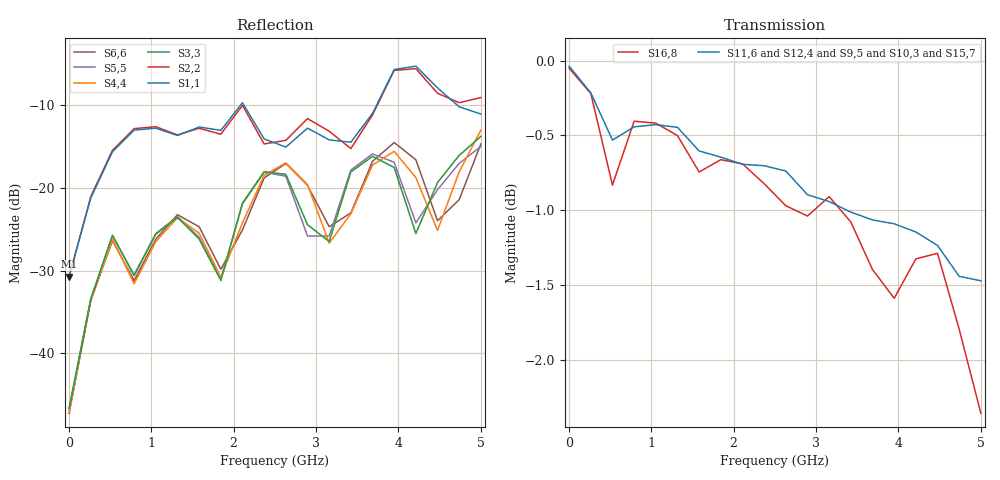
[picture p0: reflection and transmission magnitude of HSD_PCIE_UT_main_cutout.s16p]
! Touchstone file exported from HFSS 3D Layout Design 2025.1.0
!  File:  E:/temp/HSD_PCIE_UT.aedt
!  Generated:  10:09:20 PM Sep  1, 2025
!  Design:  main_cutout
!  Project:  HSD_PCIE_UT
!  Setup:  SIwaveSYZ1
!  Solution:  Sweep1
# GHz S MA R 50.000000
! Terminal data exported
! Port[1] = U1.AL25.PCIe_Gen4_TX0_CAP_N
! Port[2] = U1.AM25.PCIe_Gen4_TX0_CAP_P
! Port[3] = U1.AN26.PCIe_Gen4_RX0_N
! Port[4] = U1.AP25.PCIe_Gen4_RX1_N
! Port[5] = U1.AP26.PCIe_Gen4_RX0_P
! Port[6] = U1.AR25.PCIe_Gen4_RX1_P
! Port[7] = U1.AU16.PCIe_Gen4_TX1_CAP_P
! Port[8] = U1.AU17.PCIe_Gen4_TX1_CAP_N
! Port[9] = X1.A2.PCIe_Gen4_RX0_P
! Port[10] = X1.A3.PCIe_Gen4_RX0_N
! Port[11] = X1.A5.PCIe_Gen4_RX1_P
! Port[12] = X1.A6.PCIe_Gen4_RX1_N
! Port[13] = X1.B2.PCIe_Gen4_TX0_P
! Port[14] = X1.B3.PCIe_Gen4_TX0_N
! Port[15] = X1.B5.PCIe_Gen4_TX1_P
! Port[16] = X1.B6.PCIe_Gen4_TX1_N
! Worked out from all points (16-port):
!   20 points, 5 MHz to 5 GHz, reference 50 ohm
!   strongest paths, dB at 5 MHz, 1.319 GHz, 2.634 GHz, 3.948 GHz, 5 GHz:
!     S11,6: 0.0, -0.4, -0.7, -1.1, -1.5
!     S12,4: 0.0, -0.4, -0.7, -1.1, -1.5
!     S9,5: 0.0, -0.5, -0.8, -1.1, -1.5
!     S10,3: 0.0, -0.5, -0.8, -1.1, -1.5
!     S15,7: -0.1, -0.5, -0.9, -1.5, -2.2
!     S16,8: -0.1, -0.5, -1.0, -1.6, -2.4
!   lowest |S11| = -30.7 dB at 5 MHz (marker M1), VSWR 1.06, Z = 50.4 - j2.89 ohm
!   |S11| at or under -10 dB: start of sweep to 2.083 GHz; 2.128 GHz to 3.733 GHz (1.606 GHz wide, 54.8 % of centre); 4.718 GHz to end of sweep
